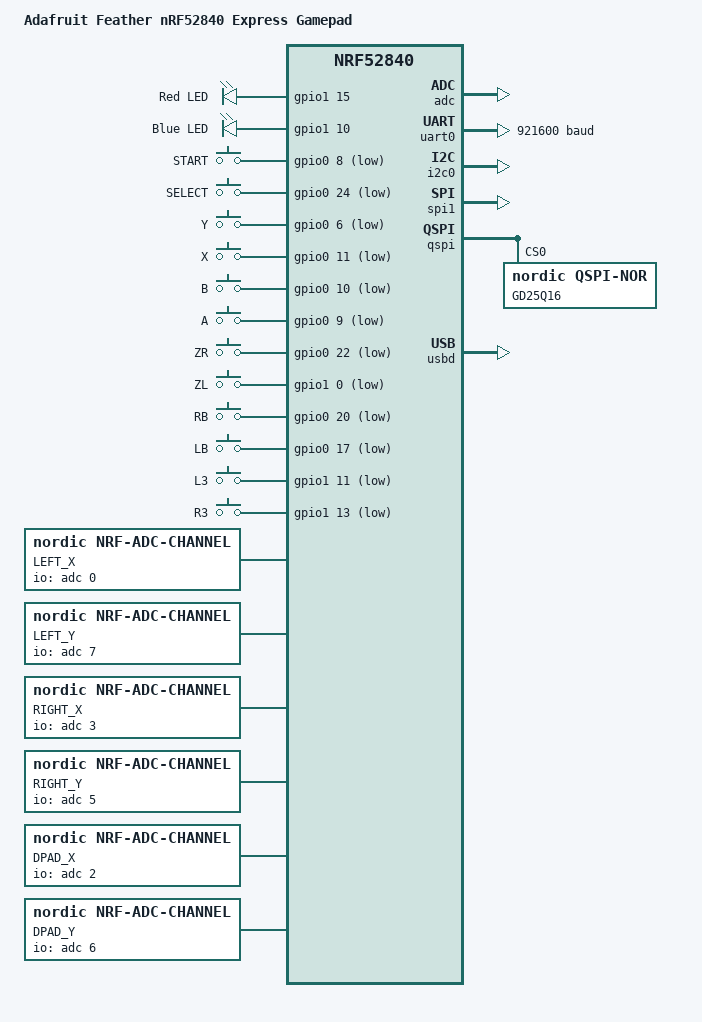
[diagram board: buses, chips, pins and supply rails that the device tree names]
/dts-v1/;
#include <nordic/nrf52840_qiaa.dtsi>
#include "feather_connector.dtsi"
#include "adafruit_feather_nrf52840-pinctrl.dtsi"

/ {
	model = "Adafruit Feather nRF52840 Express Gamepad";
	compatible = "adafruit,feather-nrf52840";

	chosen {
		zephyr,console = &uart0;
		zephyr,shell-uart = &uart0;
		zephyr,uart-mcumgr = &uart0;
		zephyr,bt-mon-uart = &uart0;
		zephyr,bt-c2h-uart = &uart0;
		zephyr,sram = &sram0;
		zephyr,flash = &flash0;
		zephyr,code-partition = &code_partition;
	};

	leds {
		compatible = "gpio-leds";
		led0: led_0 {
			gpios = <&gpio1 15 0>;
			label = "Red LED";
		};
		led1: led_1 {
			gpios = <&gpio1 10 0>;
			label = "Blue LED";
		};
	};

	buttons {
		compatible = "gpio-keys";
		button-start: button_start { gpios = <&gpio0 8 (GPIO_PULL_UP | GPIO_ACTIVE_LOW)>; label = "START"; };
		button-select: button_select { gpios = <&gpio0 24 (GPIO_PULL_UP | GPIO_ACTIVE_LOW)>; label = "SELECT"; };
		button_y: button_y { gpios = <&gpio0 6 (GPIO_PULL_UP | GPIO_ACTIVE_LOW)>; label = "Y"; };
		button_x: button_x { gpios = <&gpio0 11 (GPIO_PULL_UP | GPIO_ACTIVE_LOW)>; label = "X"; };
		button_b: button_b { gpios = <&gpio0 10 (GPIO_PULL_UP | GPIO_ACTIVE_LOW)>; label = "B"; };
		button_a: button_a { gpios = <&gpio0 9 (GPIO_PULL_UP | GPIO_ACTIVE_LOW)>; label = "A"; };
		button_zr: button_zr { gpios = <&gpio0 22 (GPIO_PULL_UP | GPIO_ACTIVE_LOW)>; label = "ZR"; };
		button_zl: button_zl { gpios = <&gpio1 0 (GPIO_PULL_UP | GPIO_ACTIVE_LOW)>; label = "ZL"; };
		button_rb: button_rb { gpios = <&gpio0 20 (GPIO_PULL_UP | GPIO_ACTIVE_LOW)>; label = "RB"; };
		button_lb: button_lb { gpios = <&gpio0 17 (GPIO_PULL_UP | GPIO_ACTIVE_LOW)>; label = "LB"; };
		button_l3: button_l3 { gpios = <&gpio1 11 (GPIO_PULL_UP | GPIO_ACTIVE_LOW)>; label = "L3"; };
		button_r3: button_r3 { gpios = <&gpio1 13 (GPIO_PULL_UP | GPIO_ACTIVE_LOW)>; label = "R3"; };
	};

	aliases {
		led0 = &led0;
		led1 = &led1;
		btn-start = &button_start;
		btn-select = &button_select;
		btn-y = &button_y;
		btn-x = &button_x;
		btn-b = &button_b;
		btn-a = &button_a;
		btn-zr = &button_zr;
		btn-zl = &button_zl;
		btn-rb = &button_rb;
		btn-lb = &button_lb;
		btn-l3 = &button_l3;
		btn-r3 = &button_r3;
	};

	adc_left_x: adc_left_x {
		compatible = "nordic,nrf-adc-channel";
		io-channels = <&adc 0>; // AIN0: P0.02
		label = "LEFT_X";
	};
	adc_left_y: adc_left_y {
		compatible = "nordic,nrf-adc-channel";
		io-channels = <&adc 7>; // AIN7: P1.15
		label = "LEFT_Y";
	};
	adc_right_x: adc_right_x {
		compatible = "nordic,nrf-adc-channel";
		io-channels = <&adc 3>; // AIN3: P0.31
		label = "RIGHT_X";
	};
	adc_right_y: adc_right_y {
		compatible = "nordic,nrf-adc-channel";
		io-channels = <&adc 5>; // AIN5: P0.29
		label = "RIGHT_Y";
	};
	adc_dpad_x: adc_dpad_x {
		compatible = "nordic,nrf-adc-channel";
		io-channels = <&adc 2>; // AIN2: P1.04
		label = "DPAD_X";
	};
	adc_dpad_y: adc_dpad_y {
		compatible = "nordic,nrf-adc-channel";
		io-channels = <&adc 6>; // AIN6: P1.06
		label = "DPAD_Y";
	};
};

&adc {
	status = "okay";
};

&gpiote {
	status = "okay";
};

&gpio0 {
	status = "okay";
	sense-edge-mask = < 0xffffffff >;
};

&gpio1 {
	status = "okay";
	sense-edge-mask = < 0xffffffff >;
};

&uart0 {
	compatible = "nordic,nrf-uart";
	current-speed = <921600>;
	status = "okay";
	pinctrl-0 = <&uart0_default>;
	pinctrl-1 = <&uart0_sleep>;
	pinctrl-names = "default", "sleep";
};

&i2c0 {
	compatible = "nordic,nrf-twi";
	status = "okay";
	pinctrl-0 = <&i2c0_default>;
	pinctrl-1 = <&i2c0_sleep>;
	pinctrl-names = "default", "sleep";
};

&spi1 {
	compatible = "nordic,nrf-spi";
	status = "okay";
	pinctrl-0 = <&spi1_default>;
	pinctrl-1 = <&spi1_sleep>;
	pinctrl-names = "default", "sleep";
};

&qspi {
	status = "okay";
	pinctrl-0 = <&qspi_default>;
	pinctrl-1 = <&qspi_sleep>;
	pinctrl-names = "default", "sleep";
	gd25q16: gd25q16@0 {
		compatible = "nordic,qspi-nor";
		reg = <0>;
		writeoc = "pp4o";
		readoc = "read4io";
		sck-frequency = <16000000>;
		label = "GD25Q16";
		jedec-id = [c8 40 15];
		size = <16777216>;
		has-dpd;
		t-enter-dpd = <20000>;
		t-exit-dpd = <20000>;
		quad-enable-requirements = "S2B1v1";
	};
};

&flash0 {
	partitions {
		compatible = "fixed-partitions";
		#address-cells = <1>;
		#size-cells = <1>;
		sd_partition: partition@0 {
			label = "softdevice";
			reg = <0x00000000 0x00026000>;
		};
		code_partition: partition@26000 {
			label = "code_partition";
			reg = <0x00026000 0x000c6000>;
		};
		storage_partition: partition@ec000 {
			label = "storage";
			reg = <0x000ec000 0x00008000>;
		};
		boot_partition: partition@f4000 {
			label = "adafruit_boot";
			reg = <0x000f4000 0x0000c000>;
		};
	};
};

zephyr_udc0: &usbd {
	compatible = "nordic,nrf-usbd";
	status = "okay";
};
